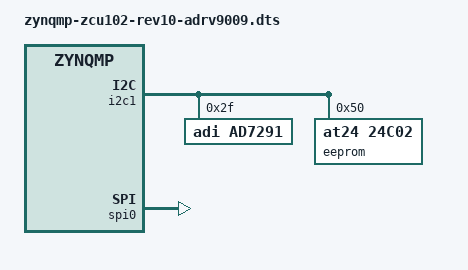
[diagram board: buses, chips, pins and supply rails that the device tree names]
// SPDX-License-Identifier: GPL-2.0
/*
 * Analog Devices ADRV9009
 * https://wiki.analog.com/resources/eval/user-guides/adrv9009
 * https://wiki.analog.com/resources/tools-software/linux-drivers/iio-transceiver/adrv9009
 * https://wiki.analog.com/resources/tools-software/linux-software/adrv9009_advanced_plugin
 *
 * hdl_project: <adrv9009/zcu102>
 * board_revision: <>
 *
 * Copyright (C) 2019 Analog Devices Inc.
 */
#include "zynqmp-zcu102-rev1.0.dts"
#include <dt-bindings/interrupt-controller/irq.h>
#include <dt-bindings/jesd204/adxcvr.h>

&i2c1 {
	i2c-mux@75 {
// 		i2c@0 { /* HPC0 */
// 			#address-cells = <1>;
// 			#size-cells = <0>;
// 			reg = <0>;
// 			/* HPC0_IIC */
// 			ad7291@2f {
// 				compatible = "adi,ad7291";
// 				reg = <0x2f>;
// 			};
//
// 			eeprom@50 {
// 				compatible = "at24,24c02";
// 				reg = <0x50>;
// 			};
//
// 		};
		i2c@1 { /* HPC1 */
			#address-cells = <1>;
			#size-cells = <0>;
			reg = <1>;
			/* HPC0_IIC */
			ad7291@2f {
				compatible = "adi,ad7291";
				reg = <0x2f>;
			};

			eeprom@50 {
				compatible = "at24,24c02";
				reg = <0x50>;
			};

		};

	};
};

/ {
	fpga_axi: fpga-axi@0 {
		interrupt-parent = <&gic>;
		compatible = "simple-bus";
		#address-cells = <0x1>;
		#size-cells = <0x1>;
		ranges = <0 0 0 0xffffffff>;

		rx_dma: dma@9c400000 {
			compatible = "adi,axi-dmac-1.00.a";
			reg = <0x9c400000 0x10000>;
			#dma-cells = <1>;
			#clock-cells = <0>;
			interrupts = <0 109 IRQ_TYPE_LEVEL_HIGH>;
			clocks = <&zynqmp_clk 73>;

			adi,channels {
				#size-cells = <0>;
				#address-cells = <1>;

				dma-channel@0 {
					reg = <0>;
					adi,source-bus-width = <64>;
					adi,source-bus-type = <2>;
					adi,destination-bus-width = <64>;
					adi,destination-bus-type = <0>;
				};
			};
		};

		rx_obs_dma: dma@9c440000 {
			compatible = "adi,axi-dmac-1.00.a";
			reg = <0x9c440000 0x10000>;
			#dma-cells = <1>;
			#clock-cells = <0>;
			interrupts = <0 107 IRQ_TYPE_LEVEL_HIGH>;
			clocks = <&zynqmp_clk 73>;

			adi,channels {
				#size-cells = <0>;
				#address-cells = <1>;

				dma-channel@0 {
					reg = <0>;
					adi,source-bus-width = <128>;
					adi,source-bus-type = <2>;
					adi,destination-bus-width = <64>;
					adi,destination-bus-type = <0>;
				};
			};
		};

		tx_dma: dma@9c420000  {
			compatible = "adi,axi-dmac-1.00.a";
			reg = <0x9c420000 0x10000>;
			#dma-cells = <1>;
			#clock-cells = <0>;
			interrupts = <0 108 IRQ_TYPE_LEVEL_HIGH>;
			clocks = <&zynqmp_clk 73>;

			adi,channels {
				#size-cells = <0>;
				#address-cells = <1>;

				dma-channel@0 {
					reg = <0>;
					adi,source-bus-width = <128>;
					adi,source-bus-type = <0>;
					adi,destination-bus-width = <128>;
					adi,destination-bus-type = <2>;
				};
			};
		};

		axi_adrv9009_core_rx: axi-adrv9009-rx-hpc@84a00000 {
			compatible = "adi,axi-adrv9009-rx-1.0";
			reg = <0x84a00000 0x8000>;
			dmas = <&rx_dma 0>;
			dma-names = "rx";
			spibus-connected = <&trx0_adrv9009>;
			adi,axi-decimation-core-available;
			decimation-gpios = <&gpio 139 GPIO_ACTIVE_HIGH>;
		};

		axi_adrv9009_core_rx_obs: axi-adrv9009-rx-obs-hpc@84a08000 {
			compatible = "adi,axi-adrv9009-obs-1.0";
			reg = <0x84a08000 0x1000>;
			dmas = <&rx_obs_dma 0>;
			dma-names = "rx";
			clocks = <&trx0_adrv9009 1>;
			clock-names = "sampl_clk";
		};

		axi_adrv9009_core_tx: axi-adrv9009-tx-hpc@84a04000 {
			compatible = "adi,axi-adrv9009-tx-1.0";
			reg = <0x84a04000 0x4000>;
			dmas = <&tx_dma 0>;
			dma-names = "tx";
			clocks = <&trx0_adrv9009 2>;
			clock-names = "sampl_clk";
			spibus-connected = <&trx0_adrv9009>;
			//adi,axi-pl-fifo-enable;
			adi,axi-interpolation-core-available;
			interpolation-gpios = <&gpio 140 GPIO_ACTIVE_HIGH>;
		};

		axi_adrv9009_rx_jesd: axi-jesd204-rx@84aa0000 {
			compatible = "adi,axi-jesd204-rx-1.0";
			reg = <0x84aa0000 0x1000>;

			interrupts = <0 106 IRQ_TYPE_LEVEL_HIGH>;

			clocks = <&zynqmp_clk 71>, <&axi_rx_clkgen>, <&axi_adrv9009_adxcvr_rx 0>;
			clock-names = "s_axi_aclk", "device_clk", "lane_clk";

			#clock-cells = <0>;
			clock-output-names = "jesd_rx_lane_clk";

			adi,octets-per-frame = <4>;
			adi,frames-per-multiframe = <32>;
		};

		axi_adrv9009_tx_jesd: axi-jesd204-tx@84a90000 {
			compatible = "adi,axi-jesd204-tx-1.0";
			reg = <0x84a90000 0x1000>;

			interrupts = <0 105 IRQ_TYPE_LEVEL_HIGH>;

			clocks = <&zynqmp_clk 71>, <&axi_tx_clkgen>, <&axi_adrv9009_adxcvr_tx 0>;
			clock-names = "s_axi_aclk", "device_clk", "lane_clk";

			#clock-cells = <0>;
			clock-output-names = "jesd_tx_lane_clk";

			adi,octets-per-frame = <2>;
			adi,frames-per-multiframe = <32>;
			adi,converter-resolution = <14>;
			adi,bits-per-sample = <16>;
			adi,converters-per-device = <4>;
			adi,control-bits-per-sample = <2>;
		};

		axi_adrv9009_rx_os_jesd: axi-jesd204-rx-os@84ab0000 {
			compatible = "adi,axi-jesd204-rx-1.0";
			reg = <0x84ab0000 0x1000>;

			interrupts = <0 104 IRQ_TYPE_LEVEL_HIGH>;

			clocks = <&zynqmp_clk 71>, <&axi_rx_os_clkgen>, <&axi_adrv9009_adxcvr_rx_os 0>;
			clock-names = "s_axi_aclk", "device_clk", "lane_clk";

			#clock-cells = <0>;
			clock-output-names = "jesd_rx_os_lane_clk";

			adi,octets-per-frame = <4>;
			adi,frames-per-multiframe = <32>;
		};

		axi_tx_clkgen: axi-clkgen@83c00000  {
			compatible = "adi,axi-clkgen-2.00.a";
			reg = <0x83c00000 0x10000>;
			#clock-cells = <0>;
			clocks = <&zynqmp_clk 71>, <&clk0_ad9528 1>;
			clock-names = "s_axi_aclk", "clkin1";
			clock-output-names = "axi_tx_clkgen";
		};

		axi_rx_clkgen: axi-clkgen@83c10000  {
			compatible = "adi,axi-clkgen-2.00.a";
			reg = <0x83c10000 0x10000>;
			#clock-cells = <0>;
			clocks = <&zynqmp_clk 71>, <&clk0_ad9528 1>;
			clock-names = "s_axi_aclk", "clkin1";
			clock-output-names = "axi_rx_clkgen";
		};

		axi_rx_os_clkgen: axi-clkgen@83c20000  {
			compatible = "adi,axi-clkgen-2.00.a";
			reg = <0x83c20000 0x10000>;
			#clock-cells = <0>;
			clocks = <&zynqmp_clk 71>, <&clk0_ad9528 1>;
			clock-names = "s_axi_aclk", "clkin1";
			clock-output-names = "axi_rx_os_clkgen";
		};

		axi_adrv9009_adxcvr_rx: axi-adxcvr-rx@84a60000 {
			#address-cells = <1>;
			#size-cells = <0>;
			compatible = "adi,axi-adxcvr-1.0";
			reg = <0x84a60000 0x1000>;

			clocks = <&clk0_ad9528 1>, <&axi_rx_clkgen 0>;
			clock-names = "conv", "div40";

			#clock-cells = <1>;
			clock-output-names = "rx_gt_clk", "rx_out_clk";

			adi,sys-clk-select = <XCVR_CPLL>;
			adi,out-clk-select = <XCVR_REFCLK>;
			adi,use-lpm-enable;
		};

		axi_adrv9009_adxcvr_rx_os: axi-adxcvr-rx-os@84a50000 {
			#address-cells = <1>;
			#size-cells = <0>;
			compatible = "adi,axi-adxcvr-1.0";
			reg = <0x84a50000 0x1000>;

			clocks = <&clk0_ad9528 1>, <&axi_rx_os_clkgen>;
			clock-names = "conv", "div40";

			#clock-cells = <1>;
			clock-output-names = "rx_os_gt_clk", "rx_os_out_clk";

			adi,sys-clk-select = <XCVR_CPLL>;
			adi,out-clk-select = <XCVR_REFCLK>;
			adi,use-lpm-enable;
		};

		axi_adrv9009_adxcvr_tx: axi-adxcvr-tx@84a80000 {
			#address-cells = <1>;
			#size-cells = <0>;
			compatible = "adi,axi-adxcvr-1.0";
			reg = <0x84a80000 0x1000>;

			clocks = <&clk0_ad9528 1>, <&axi_tx_clkgen>;
			clock-names = "conv", "div40";

			#clock-cells = <1>;
			clock-output-names = "tx_gt_clk", "tx_out_clk";

			adi,sys-clk-select = <XCVR_QPLL>;
			adi,out-clk-select = <XCVR_REFCLK>;
		};

		axi_sysid_0: axi-sysid-0@85000000 {
			compatible = "adi,axi-sysid-1.00.a";
			reg = <0x85000000 0x10000>;
		};
	};
};

&spi0 {
	status = "okay";
};

#define fmc_spi spi0

#include "adi-adrv9009.dtsi"

// adrv9009_dac_fifo_bypass_s 60
// ad9528_reset_b,       // 59
// ad9528_sysref_req,    // 58
// adrv9009_tx1_enable,    // 57
// adrv9009_tx2_enable,    // 56
// adrv9009_rx1_enable,    // 55
// adrv9009_rx2_enable,    // 54
// adrv9009_test,          // 53
// adrv9009_reset_b,       // 52
// adrv9009_gpint,         // 51
// adrv9009_gpio_00,       // 50
// adrv9009_gpio_01,       // 49
// adrv9009_gpio_02,       // 48
// adrv9009_gpio_03,       // 47
// adrv9009_gpio_04,       // 46
// adrv9009_gpio_05,       // 45
// adrv9009_gpio_06,       // 44
// adrv9009_gpio_07,       // 43
// adrv9009_gpio_15,       // 42
// adrv9009_gpio_08,       // 41
// adrv9009_gpio_09,       // 40
// adrv9009_gpio_10,       // 39
// adrv9009_gpio_11,       // 38
// adrv9009_gpio_12,       // 37
// adrv9009_gpio_14,       // 36
// adrv9009_gpio_13,       // 35
// adrv9009_gpio_17,       // 34
// adrv9009_gpio_16,       // 33
// adrv9009_gpio_18}));    // 32 + 78

&trx0_adrv9009 {
	reset-gpios = <&gpio 130 0>;
	test-gpios = <&gpio 131 0>;
	sysref-req-gpios = <&gpio 136 0>;
	rx2-enable-gpios = <&gpio 132 0>;
	rx1-enable-gpios = <&gpio 133 0>;
	tx2-enable-gpios = <&gpio 134 0>;
	tx1-enable-gpios = <&gpio 135 0>;
};

&clk0_ad9528 {
	reset-gpios = <&gpio 137 0>;
};

&axi_adrv9009_core_tx {
	plddrbypass-gpios = <&gpio 138 0>;
};
